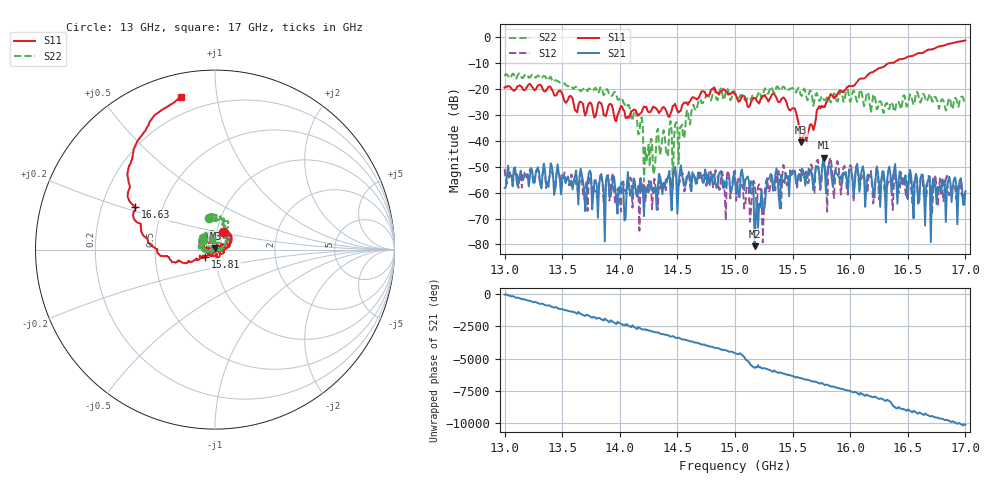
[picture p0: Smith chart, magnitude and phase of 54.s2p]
!Keysight Technologies,P9374A,MY57211807,A.19.30.04
!Date: Friday, May 01, 2026 14:15:45
!Correction: S11(C  2-Port  )
!S21(C  2-Port  )
!S12(C  2-Port  )
!S22(C  2-Port  )
!S2P File: Measurements: S11, S21, S12, S22:
# Hz S  RI  R 50
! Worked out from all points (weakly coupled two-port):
!   401 points, 13 GHz to 17 GHz, reference 50 ohm
!   highest |S21| = -46.52 dB at 15.77 GHz (marker M1); lowest = -80.6 dB at 15.17 GHz (marker M2)
!   lowest |S11| = -40.5 dB at 15.57 GHz (marker M3), VSWR 1.02, Z = 50.2 + j0.917 ohm
!   |S11| at or under -10 dB: start of sweep to 16.33 GHz
!   |S22| runs from -58.6 to -13.9 dB; largest |S21 - S12| = 0.0021
!   S11 on the Smith chart (normalised r, x): 13 GHz: 1.07, +0.21; 15.81 GHz: 0.89, -0.07; 16.63 GHz: 0.35, +0.22; 17 GHz: 0.11, +0.79
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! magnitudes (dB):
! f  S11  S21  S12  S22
! 13 GHz  -19.4  -58.1  -50.9  -14.9
! 13.67 GHz  -25.2  -52.9  -54.8  -20.5
! 14.02 GHz  -26.8  -55.8  -56.9  -23.6
! 14.18 GHz  -29.3  -54.3  -56.9  -31.8
! 14.23 GHz  -26.8  -59.9  -59.7  -47.9
! 14.34 GHz  -29.3  -52.7  -55.2  -40.7
! 14.53 GHz  -28.3  -49.4  -52.8  -34.8
! 14.75 GHz  -22.6  -52.9  -57.4  -22.7
! 15 GHz  -21.9  -55.1  -51.4  -21.1
! 15.13 GHz  -26.3  -60.0  -71.2  -23.3
! 15.17 GHz  -23.5  -80.6  -56.4  -22.9
! 15.19 GHz  -24.6  -62.2  -66.4  -23.0
! 15.24 GHz  -22.5  -66.3  -79.2  -22.8
! 15.3 GHz  -24.0  -54.2  -59.3  -20.3
! 15.43 GHz  -23.6  -56.2  -51.1  -19.2
! 15.57 GHz  -40.5  -55.5  -51.5  -22.2
! 15.67 GHz  -34.0  -54.1  -49.9  -23.1
! 15.77 GHz  -26.6  -46.5  -46.8  -24.0
! 15.81 GHz  -23.4  -49.6  -51.0  -22.7
! 16.34 GHz  -9.9  -49.9  -55.7  -27.7
! 16.63 GHz  -5.9  -53.1  -55.8  -21.8
! 17 GHz  -1.2  -59.4  -59.7  -25.1
